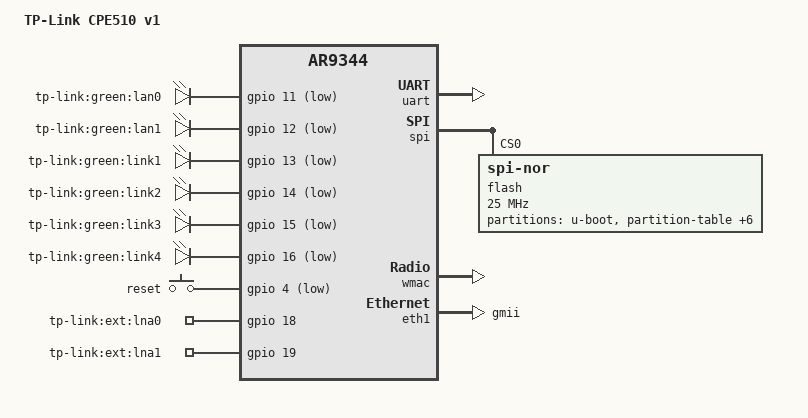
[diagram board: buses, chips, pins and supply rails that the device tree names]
// SPDX-License-Identifier: GPL-2.0-or-later OR MIT
/dts-v1/;

#include <dt-bindings/gpio/gpio.h>
#include <dt-bindings/input/input.h>

#include "ar9344.dtsi"

/ {
	model = "TP-Link CPE510 v1";
	compatible = "tplink,cpe510-v1", "qca,ar9344";

	aliases {
		led-boot = &system;
		led-failsafe = &system;
		led-running = &system;
		led-upgrade = &system;
	};

	leds {
		compatible = "gpio-leds";

		lan0 {
			label = "tp-link:green:lan0";
			gpios = <&gpio 11 GPIO_ACTIVE_LOW>;
		};

		lan1 {
			label = "tp-link:green:lan1";
			gpios = <&gpio 12 GPIO_ACTIVE_LOW>;
		};

		link1 {
			label = "tp-link:green:link1";
			gpios = <&gpio 13 GPIO_ACTIVE_LOW>;
		};

		link2 {
			label = "tp-link:green:link2";
			gpios = <&gpio 14 GPIO_ACTIVE_LOW>;
		};

		link3 {
			label = "tp-link:green:link3";
			gpios = <&gpio 15 GPIO_ACTIVE_LOW>;
		};

		system: link4 {
			label = "tp-link:green:link4";
			gpios = <&gpio 16 GPIO_ACTIVE_LOW>;
		};
	};

	keys {
		compatible = "gpio-keys-polled";
		poll-interval = <20>;

		pinctrl-names = "default";
		pinctrl-0 = <&jtag_disable_pins>;

		reset {
			linux,code = <KEY_RESTART>;
			gpios = <&gpio 4 GPIO_ACTIVE_LOW>;
			debounce-interval = <60>;
		};
	};

	gpio-export {
		compatible = "gpio-export";

		gpio_ext_lna0 {
			gpio-export,name = "tp-link:ext:lna0";
			gpio-export,output = <1>;
			gpios = <&gpio 18 GPIO_ACTIVE_HIGH>;
		};

		gpio_ext_lna1 {
			gpio-export,name = "tp-link:ext:lna1";
			gpio-export,output = <1>;
			gpios = <&gpio 19 GPIO_ACTIVE_HIGH>;
		};
	};
};

&ref {
	clock-frequency = <40000000>;
};

&uart {
	status = "okay";
};

&gpio {
	status = "okay";
};

&spi {
	num-cs = <1>;

	status = "okay";

	flash@0 {
		compatible = "jedec,spi-nor";
		reg = <0>;
		spi-max-frequency = <25000000>;

		partitions {
			compatible = "fixed-partitions";
			#address-cells = <1>;
			#size-cells = <1>;

			uboot: partition@0 {
				label = "u-boot";
				reg = <0x000000 0x020000>;
				read-only;
			};

			partition@20000 {
				label = "partition-table";
				reg = <0x020000 0x010000>;
				read-only;
			};

			productinfo: partition@30000 {
				label = "product-info";
				reg = <0x030000 0x010000>;
				read-only;
			};

			partition@40000 {
				label = "firmware";
				reg = <0x040000 0x780000>;

				compatible = "fixed-partitions";
				#address-cells = <1>;
				#size-cells = <1>;

				partition@0 {
					label = "kernel";
					reg = <0x000000 0x1c0000>;
				};

				partition@1c0000 {
					label = "rootfs";
					reg = <0x1c0000 0x5c0000>;
				};
			};

			partition@7c0000 {
				label = "config";
				reg = <0x7c0000 0x030000>;
				read-only;
			};

			art: partition@7f0000 {
				label = "art";
				reg = <0x7f0000 0x010000>;
				read-only;
			};
		};
	};
};

&wmac {
	status = "okay";

	mtd-cal-data = <&art 0x1000>;
	mtd-mac-address = <&productinfo 0x08>;
/*	mtd-mac-address-increment = <0>;*/
};

&eth1 {
	status = "okay";

/*	phy-handle = <&swphy0>;*/
	mtd-mac-address = <&productinfo 0x08>;
	phy-mode = "gmii";

	gmac-config {
		device = <&gmac>;
		switch-phy-swap = <1>;
	};
};
